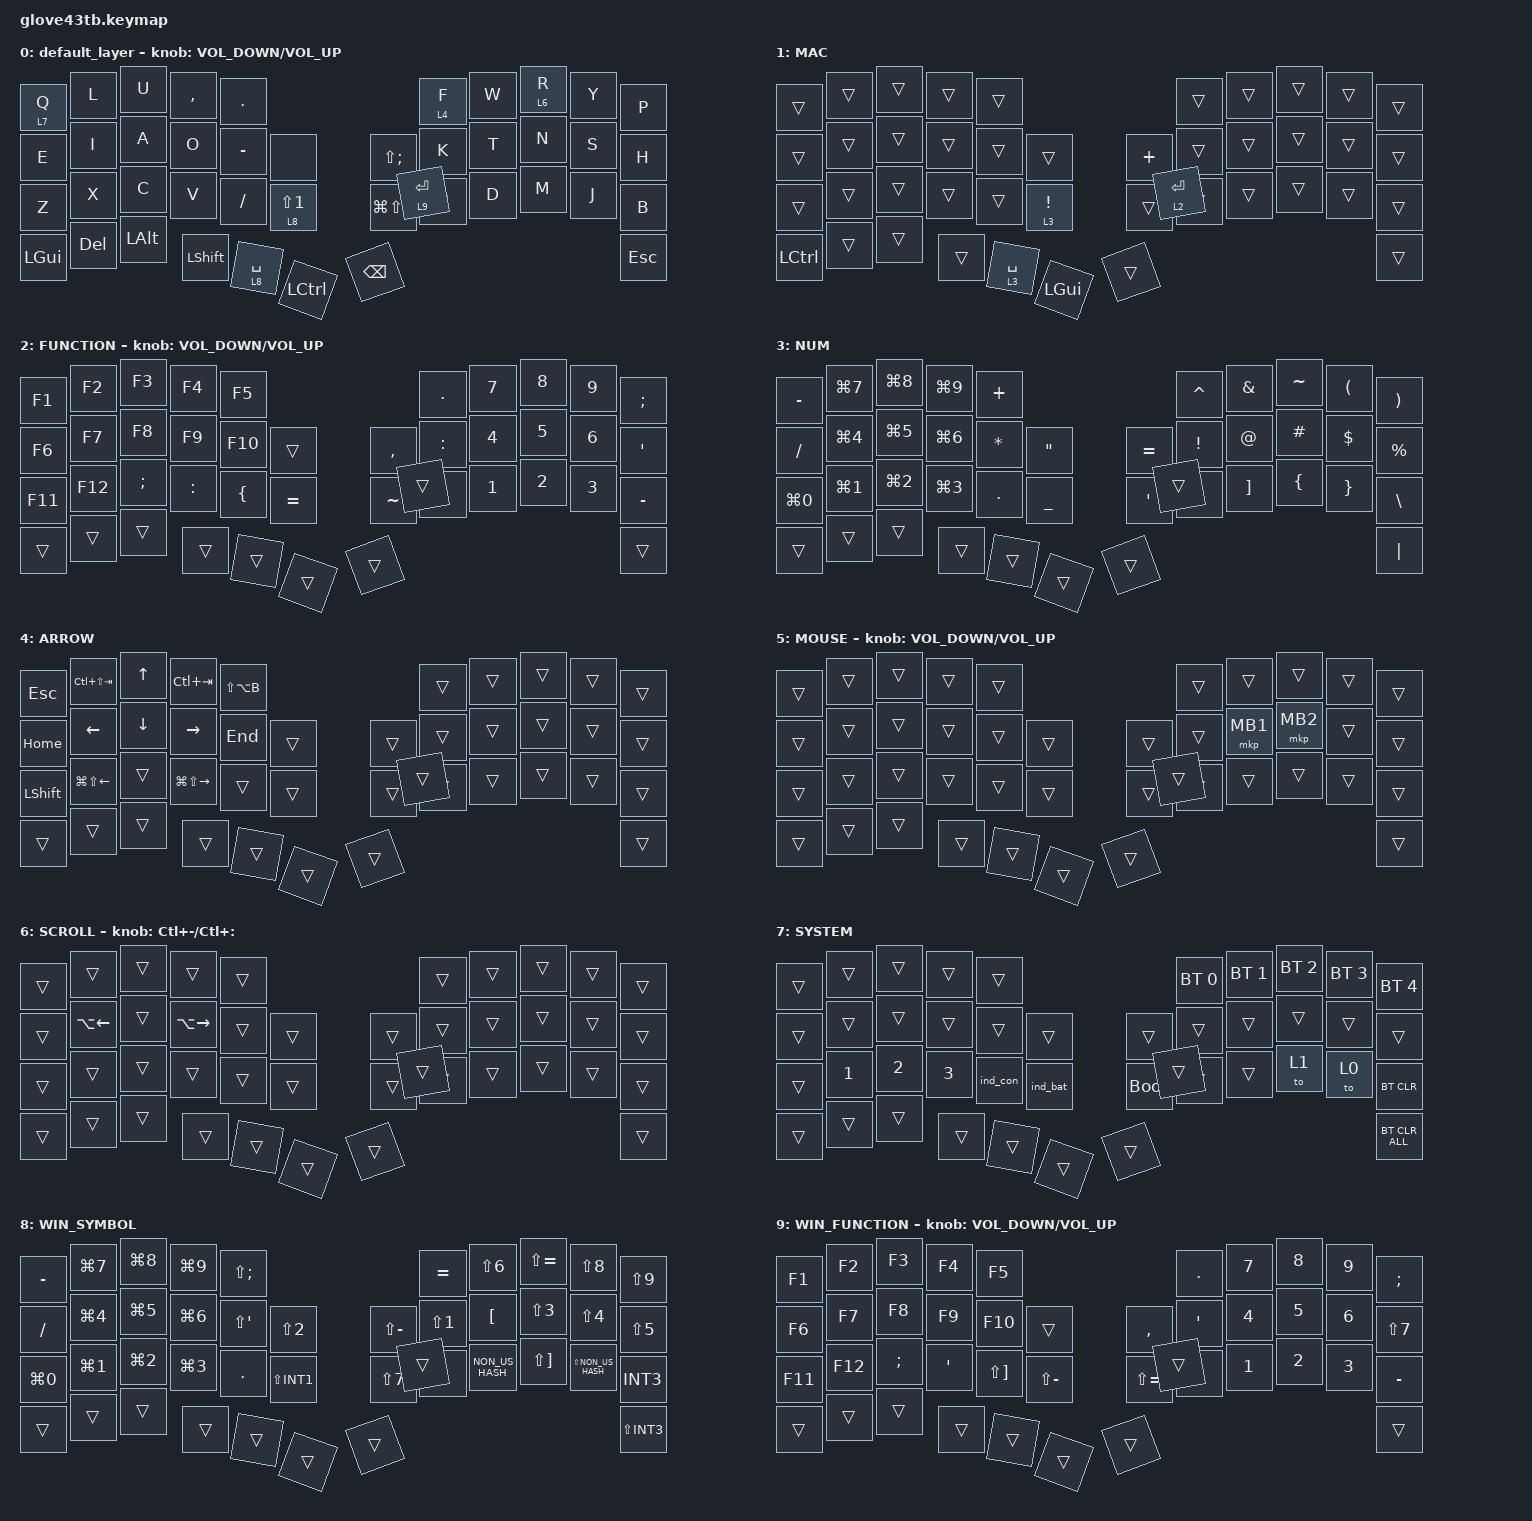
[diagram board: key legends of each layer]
#define ZMK_POINTING_DEFAULT_SCRL_VAL 150

#include <behaviors/rgbled_widget.dtsi>
#include <dt-bindings/zmk/input_transform.h>
#include <input/processors.dtsi>
#include <zephyr/dt-bindings/input/input-event-codes.h>
#include <behaviors.dtsi>
#include <dt-bindings/zmk/bt.h>
#include <dt-bindings/zmk/keys.h>
#include <dt-bindings/zmk/pointing.h>

&mt {
    flavor = "balanced";
    quick-tap-ms = <0>;
};

&mmv {
    delay-ms = <20>;
    trigger-period-ms = <5>;
    time-to-max-speed-ms = <100>;
    acceleration-exponent = <2>;
};

&msc {
    delay-ms = <3>;
    trigger-period-ms = <3>;
    time-to-max-speed-ms = <100>;
    acceleration-exponent = <0>;
};

// オートマウスレイヤー: 下記以外のキーを押すとマウスレイヤーを即解除する
// 7: R(スクロール), 18/19: 左右クリック, 34/36/37/39: GUI/ALT/SHIFT/CTRL
&zip_temp_layer {
    excluded-positions = <7 18 19 34 36 37 39>;
};

/ {
    input_processors {
        zip_wheel_scaler: zip_wheel_scaler {
            compatible = "zmk,input-processor-scaler";
            #input-processor-cells = <2>;
            type = <INPUT_EV_REL>;
            codes = <INPUT_REL_WHEEL>;
            track-remainders;
        };
    };
};

/ {
    combos {
        compatible = "zmk,combos";

        tab {
            bindings = <&kp TAB>;
            key-positions = <23 24>;
        };

        eq {
            bindings = <&kp LS(MINUS)>;
            key-positions = <24 25>;
            layers = <0>;
        };

        eq_mac {
            bindings = <&kp EQUAL>;
            key-positions = <24 25>;
            layers = <1>;
        };

        // 英数=O+V、かな=T+D（どちらも人差し指の縦2キー）
        lang2 {
            bindings = <&to_base LANG2>;
            key-positions = <13 25>;
        };

        lang1 {
            bindings = <&to_base LANG1>;
            key-positions = <18 30>;
        };
    };

    behaviors {
        tog_off: tog_off {
            compatible = "zmk,behavior-toggle-layer";
            #binding-cells = <1>;
            toggle-mode = "off";
        };

        // 右手の文字キー(F/R)用の長押しレイヤー。
        // 打鍵直後や右手の別キーを続けて押したときは文字として扱い、"ry" などで r が消えるのを防ぐ。
        lt_rh: lt_rh {
            compatible = "zmk,behavior-hold-tap";
            #binding-cells = <2>;
            bindings = <&mo>, <&kp>;
            flavor = "tap-preferred";
            tapping-term-ms = <200>;
            require-prior-idle-ms = <150>;
            hold-trigger-key-positions = <0 1 2 3 4 10 11 12 13 14 15 22 23 24 25 26 27 34 35 36 37 38 39 40 41 42>;
        };

        sensor_rotate_kp: sensor_rotate_kp {
            compatible = "zmk,behavior-sensor-rotate-var";
            #sensor-binding-cells = <2>;
            bindings = <&kp>, <&kp>;
        };

        mouse_wheel_scroll: mouse_wheel_scroll {
            compatible = "zmk,behavior-sensor-rotate-var";
            #sensor-binding-cells = <2>;
            bindings = <&msc>, <&msc>;

            tap-ms = <20>;
        };
    };

    macros {
        // ベースレイヤーに戻してからキーを送る（英数/かなコンボ用）。
        // MAC(レイヤー1)は消さないので、Mac/Winモードはそのまま。
        to_base: to_base {
            compatible = "zmk,behavior-macro-one-param";
            #binding-cells = <1>;
            wait-ms = <0>;
            bindings
                = <&macro_tap_time 0>
                , <&tog_off 2 &tog_off 3 &tog_off 4 &tog_off 5 &tog_off 6 &tog_off 7 &tog_off 8 &tog_off 9>
                , <&macro_tap_time 30>
                , <&macro_param_1to1 &kp MACRO_PLACEHOLDER>
                ;
        };
    };

    // 起動時はWindows(JIS入力)モード。記号はJIS用キーコード(WIN_SYMBOL / WIN_FUNCTION)を送る。
    // レイヤー1 MAC はMac用の上書きレイヤー。Q長押し+M でMac、Q長押し+J でWindowsに戻る。
    keymap {
        compatible = "zmk,keymap";

        default_layer {
            bindings = <
&lt 7 Q  &kp L  &kp U  &kp COMMA  &kp DOT                                         &lt_rh 4 F  &kp W  &lt_rh 6 R  &kp Y  &kp P
&kp E    &kp I  &kp A  &kp O      &kp MINUS    &none               &kp LS(SEMICOLON)  &kp K    &kp T  &kp N    &kp S  &kp H
&kp Z    &kp X  &kp C  &kp V      &kp SLASH    &lt 8 LS(NUMBER_1)  &kp LG(LS(S))  &kp G    &kp D  &kp M    &kp J  &kp B
&kp LGUI &kp DELETE &kp LALT &kp LSHIFT &lt 8 SPACE &kp LCTRL      &kp BACKSPACE  &lt 9 ENTER                         &kp ESCAPE
            >;

            sensor-bindings = <&inc_dec_kp C_VOLUME_DOWN C_VOLUME_UP>;
        };

        // Mac: left thumb = Cmd, left pinky = Ctrl (Windows/base: thumb = Ctrl, pinky = Win)
        MAC {
            bindings = <
&trans  &trans  &trans  &trans  &trans                                           &trans  &trans  &trans  &trans  &trans
&trans  &trans  &trans  &trans  &trans  &trans                &kp PLUS           &trans  &trans  &trans  &trans  &trans
&trans  &trans  &trans  &trans  &trans  &lt 3 EXCLAMATION     &trans             &trans  &trans  &trans  &trans  &trans
&kp LCTRL  &trans  &trans  &trans  &lt 3 SPACE  &kp LGUI       &trans             &lt 2 ENTER                      &trans
            >;
        };

        FUNCTION {
            bindings = <
&kp F1   &kp F2   &kp F3         &kp F4     &kp F5                                    &kp PERIOD    &kp NUMBER_7  &kp NUMBER_8  &kp NUMBER_9  &kp SEMICOLON
&kp F6   &kp F7   &kp F8         &kp F9     &kp F10         &trans         &kp COMMA  &kp COLON     &kp NUMBER_4  &kp NUMBER_5  &kp NUMBER_6  &kp APOS
&kp F11  &kp F12  &kp SEMICOLON  &kp COLON  &kp LEFT_BRACE  &kp EQUAL      &kp TILDE  &kp NUMBER_0  &kp NUMBER_1  &kp NUMBER_2  &kp NUMBER_3  &kp MINUS
&trans   &trans   &trans         &trans     &trans          &trans         &trans     &trans                                                  &trans
            >;

            sensor-bindings = <&sensor_rotate_kp C_VOLUME_DOWN C_VOLUME_UP>;
        };

        NUM {
            bindings = <
&kp MINUS         &kp LG(NUMBER_7)  &kp LG(NUMBER_8)  &kp LG(NUMBER_9)  &kp PLUS                                          &kp CARET         &kp AMPERSAND      &kp TILDE       &kp LEFT_PARENTHESIS  &kp RIGHT_PARENTHESIS
&kp SLASH         &kp LG(NUMBER_4)  &kp LG(NUMBER_5)  &kp LG(NUMBER_6)  &kp ASTERISK  &kp DOUBLE_QUOTES      &kp EQUAL  &kp EXCLAMATION   &kp AT_SIGN        &kp HASH        &kp DOLLAR            &kp PERCENT
&kp LG(NUMBER_0)  &kp LG(NUMBER_1)  &kp LG(NUMBER_2)  &kp LG(NUMBER_3)  &kp PERIOD    &kp UNDERSCORE         &kp APOS   &kp LBKT  &kp RBKT  &kp LEFT_BRACE  &kp RIGHT_BRACE       &kp BACKSLASH
&trans            &trans            &trans            &trans            &trans        &trans                 &trans     &trans                                                                     &kp PIPE
            >;
        };

        ARROW {
            bindings = <
&kp ESCAPE      &kp LC(LS(TAB))         &kp UP_ARROW    &kp LC(TAB)              &kp LS(LA(B))                      &trans  &trans  &trans  &trans  &trans
&kp HOME        &kp LEFT_ARROW          &kp DOWN_ARROW  &kp RIGHT_ARROW          &kp END        &trans      &trans  &trans  &trans  &trans  &trans  &trans
&kp LEFT_SHIFT  &kp LG(LS(LEFT_ARROW))  &trans          &kp LG(LS(RIGHT_ARROW))  &trans         &trans      &trans  &trans  &trans  &trans  &trans  &trans
&trans          &trans                  &trans          &trans                   &trans         &trans      &trans  &trans                          &trans
            >;
        };

        MOUSE {
            bindings = <
&trans  &trans  &trans  &trans  &trans                      &trans  &trans    &trans    &trans  &trans
&trans  &trans  &trans  &trans  &trans  &trans      &trans  &trans  &mkp MB1  &mkp MB2  &trans  &trans
&trans  &trans  &trans  &trans  &trans  &trans      &trans  &trans  &trans    &trans    &trans  &trans
&trans  &trans  &trans  &trans  &trans  &trans      &trans  &trans                              &trans
            >;

            sensor-bindings = <&inc_dec_kp C_VOLUME_DOWN C_VOLUME_UP>;
        };

        SCROLL {
            bindings = <
&trans  &trans        &trans  &trans         &trans                      &trans  &trans  &trans  &trans  &trans
&trans  &kp LA(LEFT)  &trans  &kp LA(RIGHT)  &trans  &trans      &trans  &trans  &trans  &trans  &trans  &trans
&trans  &trans        &trans  &trans         &trans  &trans      &trans  &trans  &trans  &trans  &trans  &trans
&trans  &trans        &trans  &trans         &trans  &trans      &trans  &trans                          &trans
            >;

            sensor-bindings = <&inc_dec_kp LC(MINUS) LC(COLON)>;
        };

        SYSTEM {
            bindings = <
&trans  &trans        &trans        &trans        &trans                               &bt BT_SEL 0  &bt BT_SEL 1  &bt BT_SEL 2  &bt BT_SEL 3  &bt BT_SEL 4
&trans  &trans        &trans        &trans        &trans    &trans        &trans       &trans        &trans        &trans        &trans        &trans
&trans  &kp NUMBER_1  &kp NUMBER_2  &kp NUMBER_3  &ind_con  &ind_bat      &bootloader  &trans        &trans        &to 1         &to 0         &bt BT_CLR
&trans  &trans        &trans        &trans        &trans    &trans        &trans       &trans                                                  &bt BT_CLR_ALL
            >;
        };

        WIN_SYMBOL {
            bindings = <
&kp MINUS         &kp LG(NUMBER_7)  &kp LG(NUMBER_8)  &kp LG(NUMBER_9)  &kp LS(SEMICOLON)                                     &kp EQL              &kp LS(NUMBER_6)    &kp LS(EQUAL)              &kp LS(NUMBER_8)           &kp LS(NUMBER_9)
&kp SLASH         &kp LG(NUMBER_4)  &kp LG(NUMBER_5)  &kp LG(NUMBER_6)  &kp LS(SQT)   &kp LS(NUMBER_2)      &kp LS(MINUS)     &kp LS(NUMBER_1)     &kp LEFT_BRACKET    &kp LS(NUMBER_3)           &kp LS(NUMBER_4)           &kp LS(NUMBER_5)
&kp LG(NUMBER_0)  &kp LG(NUMBER_1)  &kp LG(NUMBER_2)  &kp LG(NUMBER_3)  &kp PERIOD    &kp LS(INT1)          &kp LS(NUMBER_7)  &kp RIGHT_BRACKET    &kp NON_US_HASH     &kp LS(RIGHT_BRACKET)      &kp LS(NON_US_HASH)        &kp INT3
&trans            &trans            &trans            &trans            &trans        &trans                &trans            &trans                                                                                              &kp LS(INT3)
            >;
        };

        WIN_FUNCTION {
            bindings = <
&kp F1   &kp F2   &kp F3         &kp F4   &kp F5                                                &kp PERIOD    &kp NUMBER_7  &kp NUMBER_8  &kp NUMBER_9  &kp SEMICOLON
&kp F6   &kp F7   &kp F8         &kp F9   &kp F10               &trans          &kp COMMA       &kp SQT       &kp NUMBER_4  &kp NUMBER_5  &kp NUMBER_6  &kp LS(NUMBER_7)
&kp F11  &kp F12  &kp SEMICOLON  &kp SQT  &kp LS(RIGHT_BRACKET) &kp LS(MINUS)   &kp LS(EQUAL)   &kp NUMBER_0  &kp NUMBER_1  &kp NUMBER_2  &kp NUMBER_3  &kp MINUS
&trans   &trans   &trans         &trans   &trans                &trans          &trans          &trans                                                  &trans
            >;

            sensor-bindings = <&sensor_rotate_kp C_VOLUME_DOWN C_VOLUME_UP>;
        };
    };
};
